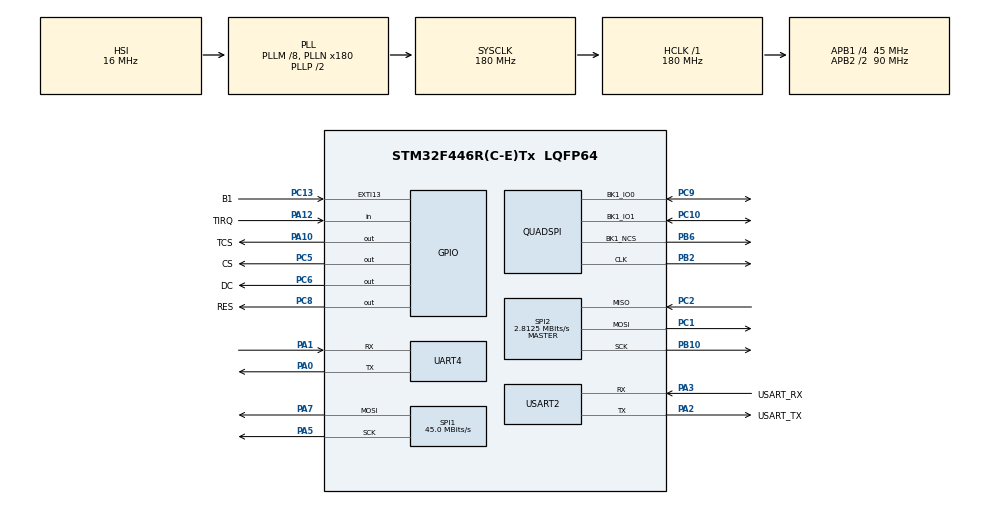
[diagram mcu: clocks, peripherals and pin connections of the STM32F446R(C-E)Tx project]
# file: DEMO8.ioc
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Dma.Request0=UART4_RX
Dma.Request1=SPI1_TX
Dma.Request2=UART4_TX
Dma.SPI1_TX.1.Direction=DMA_MEMORY_TO_PERIPH
Dma.SPI1_TX.1.FIFOMode=DMA_FIFOMODE_DISABLE
Dma.SPI1_TX.1.Instance=DMA2_Stream3
Dma.SPI1_TX.1.MemDataAlignment=DMA_MDATAALIGN_BYTE
Dma.SPI1_TX.1.MemInc=DMA_MINC_ENABLE
Dma.SPI1_TX.1.Mode=DMA_NORMAL
Dma.SPI1_TX.1.PeriphDataAlignment=DMA_PDATAALIGN_BYTE
Dma.SPI1_TX.1.PeriphInc=DMA_PINC_DISABLE
Dma.SPI1_TX.1.Priority=DMA_PRIORITY_LOW
Dma.UART4_RX.0.Direction=DMA_PERIPH_TO_MEMORY
Dma.UART4_RX.0.FIFOMode=DMA_FIFOMODE_DISABLE
Dma.UART4_RX.0.Instance=DMA1_Stream2
Dma.UART4_RX.0.MemDataAlignment=DMA_MDATAALIGN_BYTE
Dma.UART4_RX.0.MemInc=DMA_MINC_ENABLE
Dma.UART4_RX.0.Mode=DMA_NORMAL
Dma.UART4_RX.0.PeriphDataAlignment=DMA_PDATAALIGN_BYTE
Dma.UART4_RX.0.PeriphInc=DMA_PINC_DISABLE
Dma.UART4_RX.0.Priority=DMA_PRIORITY_MEDIUM
Dma.UART4_TX.2.Direction=DMA_MEMORY_TO_PERIPH
Dma.UART4_TX.2.FIFOMode=DMA_FIFOMODE_DISABLE
Dma.UART4_TX.2.Instance=DMA1_Stream4
Dma.UART4_TX.2.MemDataAlignment=DMA_MDATAALIGN_BYTE
Dma.UART4_TX.2.MemInc=DMA_MINC_ENABLE
Dma.UART4_TX.2.Mode=DMA_NORMAL
Dma.UART4_TX.2.PeriphDataAlignment=DMA_PDATAALIGN_BYTE
Dma.UART4_TX.2.PeriphInc=DMA_PINC_DISABLE
Dma.UART4_TX.2.Priority=DMA_PRIORITY_MEDIUM
FREERTOS.Tasks01=LVGL,24,512,StartLVGL,Default,NULL,Dynamic,NULL,NULL;SYNC,32,256,StartSYNC,Default,NULL,Dynamic,NULL,NULL
FREERTOS.configENABLE_FPU=1
FREERTOS.configUSE_IDLE_HOOK=1
FREERTOS.configUSE_NEWLIB_REENTRANT=1
FREERTOS.configUSE_TICK_HOOK=1
Mcu.Family=STM32F4
Mcu.Name=STM32F446R(C-E)Tx
Mcu.Package=LQFP64
NVIC.DMA1_Stream2_IRQn=true\:5\:0\:false\:false\:true\:true\:false\:true
NVIC.DMA1_Stream4_IRQn=true\:5\:0\:false\:false\:true\:true\:false\:true
NVIC.DMA2_Stream3_IRQn=true\:5\:0\:false\:false\:true\:true\:false\:true
NVIC.PriorityGroup=NVIC_PRIORITYGROUP_4
NVIC.TIM3_IRQn=true\:5\:0\:false\:false\:true\:true\:true\:true
NVIC.TIM8_TRG_COM_TIM14_IRQn=true\:15\:0\:false\:false\:true\:false\:false\:true
NVIC.TimeBase=TIM8_TRG_COM_TIM14_IRQn
NVIC.TimeBaseIP=TIM14
NVIC.UART4_IRQn=true\:5\:0\:false\:false\:true\:true\:true\:true
NVIC.USART2_IRQn=true\:5\:0\:false\:false\:true\:true\:true\:true
PA0-WKUP.Mode=Asynchronous
PA0-WKUP.Signal=UART4_TX
PA1.Mode=Asynchronous
PA1.Signal=UART4_RX
PA10.GPIO_Label=TCS
PA10.Signal=GPIO_Output
PA12.GPIO_Label=TIRQ
PA12.GPIO_PuPd=GPIO_PULLUP
PA12.Signal=GPIO_Input
PA13.GPIO_Label=TMS
PA13.Mode=Serial_Wire
PA13.Signal=SYS_JTMS-SWDIO
PA14.GPIO_Label=TCK
PA14.Mode=Serial_Wire
PA14.Signal=SYS_JTCK-SWCLK
PA2.GPIO_Label=USART_TX
PA2.Mode=Asynchronous
PA2.Signal=USART2_TX
PA3.GPIO_Label=USART_RX
PA3.Mode=Asynchronous
PA3.Signal=USART2_RX
PA5.Mode=TX_Only_Simplex_Unidirect_Master
PA5.Signal=SPI1_SCK
PA7.Mode=TX_Only_Simplex_Unidirect_Master
PA7.Signal=SPI1_MOSI
PB10.Mode=Full_Duplex_Master
PB10.Signal=SPI2_SCK
PB2.Mode=Single Bank 1 2IOs
PB2.Signal=QUADSPI_CLK
PB3.GPIO_Label=SWO
PB3.Signal=SYS_JTDO-SWO
PB6.Mode=Single Bank 1 2IOs
PB6.Signal=QUADSPI_BK1_NCS
PC1.Mode=Full_Duplex_Master
PC1.Signal=SPI2_MOSI
PC10.Mode=Single Bank 1 2IOs
PC10.Signal=QUADSPI_BK1_IO1
PC13.GPIO_Label=B1
PC13.GPIO_ModeDefaultEXTI=GPIO_MODE_IT_FALLING
PC13.Signal=GPXTI13
PC14-OSC32_IN.Mode=LSE-External-Oscillator
PC14-OSC32_IN.Signal=RCC_OSC32_IN
PC15-OSC32_OUT.Mode=LSE-External-Oscillator
PC15-OSC32_OUT.Signal=RCC_OSC32_OUT
PC2.Mode=Full_Duplex_Master
PC2.Signal=SPI2_MISO
PC5.GPIO_Label=CS
PC5.Signal=GPIO_Output
PC6.GPIO_Label=DC
PC6.Signal=GPIO_Output
PC8.GPIO_Label=RES
PC8.Signal=GPIO_Output
PC9.Mode=Single Bank 1 2IOs
PC9.Signal=QUADSPI_BK1_IO0
PH0-OSC_IN.Mode=HSE-External-Oscillator
PH0-OSC_IN.Signal=RCC_OSC_IN
PH1-OSC_OUT.Mode=HSE-External-Oscillator
PH1-OSC_OUT.Signal=RCC_OSC_OUT
ProjectManager.HeapSize=0x1000
ProjectManager.StackSize=0x400
ProjectManager.TargetToolchain=STM32CubeIDE
RCC.48MHZClocksFreq_Value=84000000
RCC.AHBFreq_Value=180000000
RCC.APB1CLKDivider=RCC_HCLK_DIV4
RCC.APB1Freq_Value=45000000
RCC.APB1TimFreq_Value=90000000
RCC.APB2CLKDivider=RCC_HCLK_DIV2
RCC.APB2Freq_Value=90000000
RCC.APB2TimFreq_Value=180000000
RCC.CortexFreq_Value=180000000
RCC.FLatency-AdvancedSettings=FLASH_LATENCY_5
RCC.HCLKFreq_Value=180000000
RCC.HSE_VALUE=8000000
RCC.HSI_VALUE=16000000
RCC.PLLM=8
RCC.PLLN=180
RCC.SYSCLKFreq_VALUE=180000000
RCC.SYSCLKSource=RCC_SYSCLKSOURCE_PLLCLK
RCC.USBFreq_Value=180000000
RCC.VCOOutputFreq_Value=360000000
SPI1.CalculateBaudRate=45.0 MBits/s
SPI1.Direction=SPI_DIRECTION_2LINES
SPI1.Mode=SPI_MODE_MASTER
SPI1.VirtualType=VM_MASTER
SPI2.BaudRatePrescaler=SPI_BAUDRATEPRESCALER_16
SPI2.CLKPhase=SPI_PHASE_1EDGE
SPI2.CLKPolarity=SPI_POLARITY_LOW
SPI2.CalculateBaudRate=2.8125 MBits/s
SPI2.Direction=SPI_DIRECTION_2LINES
SPI2.Mode=SPI_MODE_MASTER
SPI2.VirtualType=VM_MASTER
TIM3.AutoReloadPreload=TIM_AUTORELOAD_PRELOAD_ENABLE
TIM3.Period=299
TIM3.Prescaler=599
UART4.VirtualMode=Asynchronous
USART2.VirtualMode=VM_ASYNC
VP_CRC_VS_CRC.Mode=CRC_Activate
VP_FREERTOS_VS_CMSIS_V2.Mode=CMSIS_V2
VP_SYS_VS_tim14.Mode=TIM14
VP_TIM3_VS_ClockSourceINT.Mode=Internal
board=NUCLEO-F446RE

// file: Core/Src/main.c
/* USER CODE BEGIN Header */
/**
 ******************************************************************************
 * @file           : main.c
 * @brief          : Main program body
 ******************************************************************************
 * @attention
 *
 * <h2><center>&copy; Copyright (c) 2021 STMicroelectronics.
 * All rights reserved.</center></h2>
 *
 * This software component is licensed by ST under Ultimate Liberty license
 * SLA0044, the "License"; You may not use this file except in compliance with
 * the License. You may obtain a copy of the License at:
 *                             www.st.com/SLA0044
 *
 ******************************************************************************
 */
/* USER CODE END Header */
#include "main.h"
#include "cmsis_os.h"

/* USER CODE BEGIN Includes */
#include "IL9341.h"
#include "lvgl.h"
#include "lv_port_disp.h"
#include "lv_port_indev.h"
#include "cJSON.h"
#include "stdio.h"
/* USER CODE END Includes */

/* USER CODE BEGIN PD */
UART_HandleTypeDef huart2;
#ifdef __GNUC__

#define PUTCHAR_PROTOTYPE int __io_putchar(int ch)

PUTCHAR_PROTOTYPE {

	HAL_UART_Transmit(&huart2, (uint8_t*) &ch, 1, HAL_MAX_DELAY);
	return ch;
}
#endif
/* USER CODE END PD */

/* USER CODE BEGIN PM */
char buff[1024];
char text[1024];
double TEMP;
char* MAINWEATHER;
char* CITY;
/* USER CODE END PM */

CRC_HandleTypeDef hcrc;

QSPI_HandleTypeDef hqspi;

SPI_HandleTypeDef hspi1;
SPI_HandleTypeDef hspi2;
DMA_HandleTypeDef hdma_spi1_tx;

TIM_HandleTypeDef htim3;

UART_HandleTypeDef huart4;
UART_HandleTypeDef huart2;
DMA_HandleTypeDef hdma_uart4_rx;
DMA_HandleTypeDef hdma_uart4_tx;

/* Definitions for LVGL */
osThreadId_t LVGLHandle;
const osThreadAttr_t LVGL_attributes = {
  .name = "LVGL",
  .stack_size = 512 * 4,
  .priority = (osPriority_t) osPriorityNormal,
};
/* Definitions for SYNC */
osThreadId_t SYNCHandle;
const osThreadAttr_t SYNC_attributes = {
  .name = "SYNC",
  .stack_size = 256 * 4,
  .priority = (osPriority_t) osPriorityAboveNormal,
};
/* USER CODE BEGIN PV */

/* USER CODE BEGIN 1 */
/* USER CODE END 1 */
/* USER CODE END PV */

void SystemClock_Config(void);
static void MX_GPIO_Init(void);
static void MX_USART2_UART_Init(void);
static void MX_DMA_Init(void);
static void MX_TIM3_Init(void);
static void MX_CRC_Init(void);
static void MX_UART4_Init(void);
static void MX_SPI1_Init(void);
static void MX_SPI2_Init(void);
static void MX_QUADSPI_Init(void);
void StartLVGL(void *argument);
void StartSYNC(void *argument);

/* USER CODE BEGIN 0 */
/* LVGL OBJ BEGIN 0*/
lv_obj_t *label;
lv_obj_t *btn;
lv_obj_t *LVCITY;
lv_obj_t *LVWEATHER;
lv_obj_t *LVTEMP;
void weather();
/* LVGL OBJ END 0*/
/* LVGL UI BEGIN 0*/
static void LVGLWT(lv_event_t *e) {
	btn = lv_event_get_target(e);
	weather();
}

void demo() {
	static lv_style_t style_temp;
	lv_style_init(&style_temp);
	lv_style_set_text_font(&style_temp,&lv_font_montserrat_28);

	lv_obj_t *infowin = lv_win_create(lv_scr_act(), 40);
	lv_win_add_title(infowin, LV_SYMBOL_WIFI" WEATHER");
	lv_obj_t *information = lv_win_get_content(infowin);
	btn = lv_btn_create(information);
	lv_obj_set_size(btn, 20, 20);
	lv_obj_align(btn, LV_ALIGN_TOP_LEFT, 0, 0);
	label = lv_label_create(btn);
	lv_label_set_text(label, LV_SYMBOL_REFRESH);
	lv_obj_center(label);
	lv_obj_add_event_cb(btn, LVGLWT, LV_EVENT_CLICKED, NULL);
	LVCITY = lv_label_create(information);
	lv_label_set_text(LVCITY, CITY);
	lv_obj_align(LVCITY, LV_ALIGN_TOP_MID, 0, 10);
	LVTEMP = lv_label_create(information);
	lv_label_set_text_fmt(LVTEMP, "%.2f°C", TEMP);
	lv_obj_add_style(LVTEMP, &style_temp,LV_PART_MAIN);
	lv_obj_align(LVTEMP, LV_ALIGN_CENTER, 0, -20);
	LVWEATHER = lv_label_create(information);
	lv_label_set_text(LVWEATHER, MAINWEATHER);
	lv_obj_align(LVWEATHER, LV_ALIGN_CENTER, 0, 60);

}

void CL(void) {
	lv_obj_t *cw;

	cw = lv_colorwheel_create(lv_scr_act(), true);
	lv_obj_set_size(cw, 200, 200);
	lv_obj_center(cw);
}

/* LVGL UI END 0*/

/* WETAHER JSON DECODE BEGIN 0*/
void weather(){
HAL_UART_Transmit_DMA(&huart4, (uint8_t*) "GET WEATHER", sizeof("GET WEATHER"));
cJSON *WT=NULL;
cJSON *WEATHER =NULL;
cJSON *MAIN=NULL;
//DECODE:
WT=cJSON_Parse(text);
if(WT == NULL)
    {
        //goto DECODE;
	return;
    }
CITY = cJSON_GetObjectItem(WT, "name")->valuestring;
WEATHER = cJSON_GetObjectItem(WT, "weather")->child;
MAINWEATHER=cJSON_GetObjectItem(WEATHER, "description")->valuestring;
MAIN=cJSON_GetObjectItem(WT, "main");
TEMP=cJSON_GetObjectItem(MAIN, "temp")->valuedouble;
lv_label_set_text(LVCITY,CITY);
lv_label_set_text(LVWEATHER,MAINWEATHER);
lv_label_set_text_fmt(LVTEMP, "%.2f°C", TEMP);
cJSON_Delete(WT);
}

/* WETAHER JSON DECODE END 0*/

/* USER CODE END 0 */

int main(void)
{

  /* MCU Configuration--------------------------------------------------------*/

  /* Reset of all peripherals, Initializes the Flash interface and the Systick. */
  HAL_Init();

  /* Configure the system clock */
  SystemClock_Config();

  /* Initialize all configured peripherals */
  MX_GPIO_Init();
  MX_USART2_UART_Init();
  MX_DMA_Init();
  MX_TIM3_Init();
  MX_CRC_Init();
  MX_UART4_Init();
  MX_SPI1_Init();
  MX_SPI2_Init();
  MX_QUADSPI_Init();

  /* Init scheduler */
  osKernelInitialize();

  /* Create the thread(s) */
  /* creation of LVGL */
  LVGLHandle = osThreadNew(StartLVGL, NULL, &LVGL_attributes);

  /* creation of SYNC */
  SYNCHandle = osThreadNew(StartSYNC, NULL, &SYNC_attributes);

  /* Start scheduler */
  osKernelStart();

  /* We should never get here as control is now taken by the scheduler */
  /* Infinite loop */
	while (1) {

	}
}

void SystemClock_Config(void)
{
  RCC_OscInitTypeDef RCC_OscInitStruct = {0};
  RCC_ClkInitTypeDef RCC_ClkInitStruct = {0};

  /** Configure the main internal regulator output voltage
  */
  __HAL_RCC_PWR_CLK_ENABLE();
  __HAL_PWR_VOLTAGESCALING_CONFIG(PWR_REGULATOR_VOLTAGE_SCALE1);
  /** Initializes the RCC Oscillators according to the specified parameters
  * in the RCC_OscInitTypeDef structure.
  */
  RCC_OscInitStruct.OscillatorType = RCC_OSCILLATORTYPE_HSI;
  RCC_OscInitStruct.HSIState = RCC_HSI_ON;
  RCC_OscInitStruct.HSICalibrationValue = RCC_HSICALIBRATION_DEFAULT;
  RCC_OscInitStruct.PLL.PLLState = RCC_PLL_ON;
  RCC_OscInitStruct.PLL.PLLSource = RCC_PLLSOURCE_HSI;
  RCC_OscInitStruct.PLL.PLLM = 8;
  RCC_OscInitStruct.PLL.PLLN = 180;
  RCC_OscInitStruct.PLL.PLLP = RCC_PLLP_DIV2;
  RCC_OscInitStruct.PLL.PLLQ = 2;
  RCC_OscInitStruct.PLL.PLLR = 2;
  if (HAL_RCC_OscConfig(&RCC_OscInitStruct) != HAL_OK)
  {
    Error_Handler();
  }
  /** Activate the Over-Drive mode
  */
  if (HAL_PWREx_EnableOverDrive() != HAL_OK)
  {
    Error_Handler();
  }
  /** Initializes the CPU, AHB and APB buses clocks
  */
  RCC_ClkInitStruct.ClockType = RCC_CLOCKTYPE_HCLK|RCC_CLOCKTYPE_SYSCLK
                              |RCC_CLOCKTYPE_PCLK1|RCC_CLOCKTYPE_PCLK2;
  RCC_ClkInitStruct.SYSCLKSource = RCC_SYSCLKSOURCE_PLLCLK;
  RCC_ClkInitStruct.AHBCLKDivider = RCC_SYSCLK_DIV1;
  RCC_ClkInitStruct.APB1CLKDivider = RCC_HCLK_DIV4;
  RCC_ClkInitStruct.APB2CLKDivider = RCC_HCLK_DIV2;

  if (HAL_RCC_ClockConfig(&RCC_ClkInitStruct, FLASH_LATENCY_5) != HAL_OK)
  {
    Error_Handler();
  }
}

static void MX_CRC_Init(void)
{

  hcrc.Instance = CRC;
  if (HAL_CRC_Init(&hcrc) != HAL_OK)
  {
    Error_Handler();
  }

}

static void MX_QUADSPI_Init(void)
{

  /* QUADSPI parameter configuration*/
  hqspi.Instance = QUADSPI;
  hqspi.Init.ClockPrescaler = 255;
  hqspi.Init.FifoThreshold = 1;
  hqspi.Init.SampleShifting = QSPI_SAMPLE_SHIFTING_NONE;
  hqspi.Init.FlashSize = 1;
  hqspi.Init.ChipSelectHighTime = QSPI_CS_HIGH_TIME_1_CYCLE;
  hqspi.Init.ClockMode = QSPI_CLOCK_MODE_0;
  hqspi.Init.FlashID = QSPI_FLASH_ID_1;
  hqspi.Init.DualFlash = QSPI_DUALFLASH_DISABLE;
  if (HAL_QSPI_Init(&hqspi) != HAL_OK)
  {
    Error_Handler();
  }

}

static void MX_SPI1_Init(void)
{

  /* SPI1 parameter configuration*/
  hspi1.Instance = SPI1;
  hspi1.Init.Mode = SPI_MODE_MASTER;
  hspi1.Init.Direction = SPI_DIRECTION_2LINES;
  hspi1.Init.DataSize = SPI_DATASIZE_8BIT;
  hspi1.Init.CLKPolarity = SPI_POLARITY_LOW;
  hspi1.Init.CLKPhase = SPI_PHASE_1EDGE;
  hspi1.Init.NSS = SPI_NSS_SOFT;
  hspi1.Init.BaudRatePrescaler = SPI_BAUDRATEPRESCALER_2;
  hspi1.Init.FirstBit = SPI_FIRSTBIT_MSB;
  hspi1.Init.TIMode = SPI_TIMODE_DISABLE;
  hspi1.Init.CRCCalculation = SPI_CRCCALCULATION_DISABLE;
  hspi1.Init.CRCPolynomial = 10;
  if (HAL_SPI_Init(&hspi1) != HAL_OK)
  {
    Error_Handler();
  }

}

static void MX_SPI2_Init(void)
{

  /* SPI2 parameter configuration*/
  hspi2.Instance = SPI2;
  hspi2.Init.Mode = SPI_MODE_MASTER;
  hspi2.Init.Direction = SPI_DIRECTION_2LINES;
  hspi2.Init.DataSize = SPI_DATASIZE_8BIT;
  hspi2.Init.CLKPolarity = SPI_POLARITY_LOW;
  hspi2.Init.CLKPhase = SPI_PHASE_1EDGE;
  hspi2.Init.NSS = SPI_NSS_SOFT;
  hspi2.Init.BaudRatePrescaler = SPI_BAUDRATEPRESCALER_16;
  hspi2.Init.FirstBit = SPI_FIRSTBIT_MSB;
  hspi2.Init.TIMode = SPI_TIMODE_DISABLE;
  hspi2.Init.CRCCalculation = SPI_CRCCALCULATION_DISABLE;
  hspi2.Init.CRCPolynomial = 10;
  if (HAL_SPI_Init(&hspi2) != HAL_OK)
  {
    Error_Handler();
  }

}

static void MX_TIM3_Init(void)
{

  TIM_ClockConfigTypeDef sClockSourceConfig = {0};
  TIM_MasterConfigTypeDef sMasterConfig = {0};

  htim3.Instance = TIM3;
  htim3.Init.Prescaler = 599;
  htim3.Init.CounterMode = TIM_COUNTERMODE_UP;
  htim3.Init.Period = 299;
  htim3.Init.ClockDivision = TIM_CLOCKDIVISION_DIV1;
  htim3.Init.AutoReloadPreload = TIM_AUTORELOAD_PRELOAD_ENABLE;
  if (HAL_TIM_Base_Init(&htim3) != HAL_OK)
  {
    Error_Handler();
  }
  sClockSourceConfig.ClockSource = TIM_CLOCKSOURCE_INTERNAL;
  if (HAL_TIM_ConfigClockSource(&htim3, &sClockSourceConfig) != HAL_OK)
  {
    Error_Handler();
  }
  sMasterConfig.MasterOutputTrigger = TIM_TRGO_RESET;
  sMasterConfig.MasterSlaveMode = TIM_MASTERSLAVEMODE_DISABLE;
  if (HAL_TIMEx_MasterConfigSynchronization(&htim3, &sMasterConfig) != HAL_OK)
  {
    Error_Handler();
  }

}

static void MX_UART4_Init(void)
{

  huart4.Instance = UART4;
  huart4.Init.BaudRate = 115200;
  huart4.Init.WordLength = UART_WORDLENGTH_8B;
  huart4.Init.StopBits = UART_STOPBITS_1;
  huart4.Init.Parity = UART_PARITY_NONE;
  huart4.Init.Mode = UART_MODE_TX_RX;
  huart4.Init.HwFlowCtl = UART_HWCONTROL_NONE;
  huart4.Init.OverSampling = UART_OVERSAMPLING_16;
  if (HAL_UART_Init(&huart4) != HAL_OK)
  {
    Error_Handler();
  }
  /* USER CODE BEGIN UART4_Init 2 */
	__HAL_UART_ENABLE_IT(&huart4, UART_IT_IDLE);
	HAL_UART_Receive_DMA(&huart4, (uint8_t*)buff, 1024);
  /* USER CODE END UART4_Init 2 */

}

static void MX_USART2_UART_Init(void)
{

  huart2.Instance = USART2;
  huart2.Init.BaudRate = 115200;
  huart2.Init.WordLength = UART_WORDLENGTH_8B;
  huart2.Init.StopBits = UART_STOPBITS_1;
  huart2.Init.Parity = UART_PARITY_NONE;
  huart2.Init.Mode = UART_MODE_TX_RX;
  huart2.Init.HwFlowCtl = UART_HWCONTROL_NONE;
  huart2.Init.OverSampling = UART_OVERSAMPLING_16;
  if (HAL_UART_Init(&huart2) != HAL_OK)
  {
    Error_Handler();
  }

}

static void MX_DMA_Init(void)
{

  /* DMA controller clock enable */
  __HAL_RCC_DMA1_CLK_ENABLE();
  __HAL_RCC_DMA2_CLK_ENABLE();

  /* DMA interrupt init */
  /* DMA1_Stream2_IRQn interrupt configuration */
  HAL_NVIC_SetPriority(DMA1_Stream2_IRQn, 5, 0);
  HAL_NVIC_EnableIRQ(DMA1_Stream2_IRQn);
  /* DMA1_Stream4_IRQn interrupt configuration */
  HAL_NVIC_SetPriority(DMA1_Stream4_IRQn, 5, 0);
  HAL_NVIC_EnableIRQ(DMA1_Stream4_IRQn);
  /* DMA2_Stream3_IRQn interrupt configuration */
  HAL_NVIC_SetPriority(DMA2_Stream3_IRQn, 5, 0);
  HAL_NVIC_EnableIRQ(DMA2_Stream3_IRQn);

}

static void MX_GPIO_Init(void)
{
  GPIO_InitTypeDef GPIO_InitStruct = {0};

  /* GPIO Ports Clock Enable */
  __HAL_RCC_GPIOC_CLK_ENABLE();
  __HAL_RCC_GPIOH_CLK_ENABLE();
  __HAL_RCC_GPIOA_CLK_ENABLE();
  __HAL_RCC_GPIOB_CLK_ENABLE();

  /*Configure GPIO pin Output Level */
  HAL_GPIO_WritePin(GPIOC, CS_Pin|DC_Pin|RES_Pin, GPIO_PIN_RESET);

  /*Configure GPIO pin Output Level */
  HAL_GPIO_WritePin(TCS_GPIO_Port, TCS_Pin, GPIO_PIN_RESET);

  /*Configure GPIO pin : B1_Pin */
  GPIO_InitStruct.Pin = B1_Pin;
  GPIO_InitStruct.Mode = GPIO_MODE_IT_FALLING;
  GPIO_InitStruct.Pull = GPIO_NOPULL;
  HAL_GPIO_Init(B1_GPIO_Port, &GPIO_InitStruct);

  /*Configure GPIO pins : CS_Pin DC_Pin RES_Pin */
  GPIO_InitStruct.Pin = CS_Pin|DC_Pin|RES_Pin;
  GPIO_InitStruct.Mode = GPIO_MODE_OUTPUT_PP;
  GPIO_InitStruct.Pull = GPIO_NOPULL;
  GPIO_InitStruct.Speed = GPIO_SPEED_FREQ_LOW;
  HAL_GPIO_Init(GPIOC, &GPIO_InitStruct);

  /*Configure GPIO pin : TCS_Pin */
  GPIO_InitStruct.Pin = TCS_Pin;
  GPIO_InitStruct.Mode = GPIO_MODE_OUTPUT_PP;
  GPIO_InitStruct.Pull = GPIO_NOPULL;
  GPIO_InitStruct.Speed = GPIO_SPEED_FREQ_LOW;
  HAL_GPIO_Init(TCS_GPIO_Port, &GPIO_InitStruct);

  /*Configure GPIO pin : TIRQ_Pin */
  GPIO_InitStruct.Pin = TIRQ_Pin;
  GPIO_InitStruct.Mode = GPIO_MODE_INPUT;
  GPIO_InitStruct.Pull = GPIO_PULLUP;
  HAL_GPIO_Init(TIRQ_GPIO_Port, &GPIO_InitStruct);

}

void StartLVGL(void *argument)
{
  /* USER CODE BEGIN 5 */
	lv_init();
	lv_port_disp_init();
	lv_port_indev_init();
	//CL();
	demo();
	/* Infinite loop */
	for (;;) {
		lv_timer_handler();
		osDelay(1);
	}
  /* USER CODE END 5 */
}

void StartSYNC(void *argument)
{
  /* USER CODE BEGIN StartSYNC */
  /* Infinite loop */
  for(;;)
  {
	weather();
    osDelay(60000);
  }
  /* USER CODE END StartSYNC */
}

void HAL_TIM_PeriodElapsedCallback(TIM_HandleTypeDef *htim)
{
  if (htim->Instance == TIM14) {
    HAL_IncTick();
  }
}

void Error_Handler(void)
{
	__disable_irq();
	while (1) {
	}
}

/************************ (C) COPYRIGHT STMicroelectronics *****END OF FILE****/

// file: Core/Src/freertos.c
/* USER CODE BEGIN Header */
/**
  ******************************************************************************
  * File Name          : freertos.c
  * Description        : Code for freertos applications
  ******************************************************************************
  * @attention
  *
  * <h2><center>&copy; Copyright (c) 2021 STMicroelectronics.
  * All rights reserved.</center></h2>
  *
  * This software component is licensed by ST under Ultimate Liberty license
  * SLA0044, the "License"; You may not use this file except in compliance with
  * the License. You may obtain a copy of the License at:
  *                             www.st.com/SLA0044
  *
  ******************************************************************************
  */
/* USER CODE END Header */

#include "FreeRTOS.h"
#include "task.h"
#include "main.h"

/* USER CODE BEGIN PM */
extern void lv_tick_inc();
/* USER CODE END PM */

/* Hook prototypes */
void vApplicationIdleHook(void);
void vApplicationTickHook(void);

/* USER CODE BEGIN 2 */
void vApplicationIdleHook( void )
{
   /* vApplicationIdleHook() will only be called if configUSE_IDLE_HOOK is set
   to 1 in FreeRTOSConfig.h. It will be called on each iteration of the idle
   task. It is essential that code added to this hook function never attempts
   to block in any way (for example, call xQueueReceive() with a block time
   specified, or call vTaskDelay()). If the application makes use of the
   vTaskDelete() API function (as this demo application does) then it is also
   important that vApplicationIdleHook() is permitted to return to its calling
   function, because it is the responsibility of the idle task to clean up
   memory allocated by the kernel to any task that has since been deleted. */
}
/* USER CODE END 2 */

/* USER CODE BEGIN 3 */
void vApplicationTickHook( void )
{
   /* This function will be called by each tick interrupt if
   configUSE_TICK_HOOK is set to 1 in FreeRTOSConfig.h. User code can be
   added here, but the tick hook is called from an interrupt context, so
   code must not attempt to block, and only the interrupt safe FreeRTOS API
   functions can be used (those that end in FromISR()). */
	lv_tick_inc(1);
}
/* USER CODE END 3 */

/************************ (C) COPYRIGHT STMicroelectronics *****END OF FILE****/
